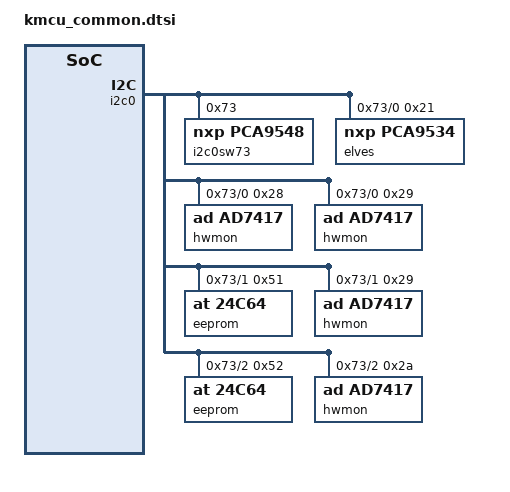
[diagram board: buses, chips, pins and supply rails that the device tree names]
// SPDX-License-Identifier: GPL-2.0+
/*
 *   Copyright (C) 2013-2019 D-TACQ Solutions Ltd - http://www.d-tacq.com/
 *
 * This program is free software; you can redistribute it and/or modify
 * it under the terms of the GNU General Public License version 2 as
 * published by the Free Software Foundation.
 */
/dts-v1/;


#include "acq400_common.dtsi"
#include "acq400_axi_dma.dtsi"

&qspi {
	is-dual = <1>;
	xlnx,qspi-mode = <0x2>;
};

&i2c0 {
	status = "okay";
	
	i2c-reset = <&gpio0 46 0>;
	i2c0sw73: i2cswitch@73 {
		compatible = "nxp,pca9548";
		#address-cells = <1>;
		#size-cells = <0>;
		reg = <0x73>;
		
		mb_i2c: i2c@0 {
			#address-cells = <1>;
			#size-cells = <0>;
			reg = <0>;
			
			/* uRTM */
			elves: gpio@21 {
				compatible="nxp,pca9534";
				reg=<0x21>;				
			};
			hwmon@28 {
				compatible="ad,ad7417";
				reg=<0x28>;
			};
			hwmon@29 {
				compatible="ad,ad7417";
				reg=<0x29>;
			};
			
		};

		elf1: i2c@1 {
			#address-cells = <1>;
			#size-cells = <0>;
			reg = <0x1>;
	
			eeprom@50 {
				compatible = "at,24c64";
				reg = <0x51>;
			};
			hwmon@28 {
				compatible="ad,ad7417";
				reg=<0x29>;
			};
		};
		elf2: i2c@2 {
			#address-cells = <1>;
			#size-cells = <0>;
			reg = <0x2>;
		
			eeprom@50 {
				compatible = "at,24c64";
				reg = <0x52>;
			};
			hwmon@28 {
				compatible="ad,ad7417";
				reg=<0x2a>;
			};
		};
		elf3: i2c@3 {
			#address-cells = <1>;
			#size-cells = <0>;
			reg = <0x3>;
		};
	};
};

/*
&cpld_interface_axi_quad_spi_0 {
    cpld_io: spidev@0 {
	compatible = "spidev";
	reg = <0x0>;
	spi-max-frequency = <25000000>;
    };
};
*/

&amba {
	sitec: acq2006sc@40000000 {
		reg = <0x40000000 0x10000>;
		compatible = "D-TACQ,acq2006sc";
		site = <0x0>;
		/* potential sc interrupt .. not assigned for now 
		interrupts = <0x0 32 0x0>;
		interrupt-parent = <0x1>;			
		*/		
	};
	site1: acq400fmc@40010000 {
		compatible = "D-TACQ,acq400fmc";
		reg = <0x40010000 0x10000>;
		interrupts = <0x0 59 0x4>; 
		interrupt-parent = <&intc>;
		site = <0x1>;
	};
	site2: acq400fmc@40020000 {
		compatible = "D-TACQ,acq400fmc";
		reg = <0x40020000 0x10000>;
		interrupts = <0x0 57 0x4>;
		interrupt-parent = <0x1>;
		site = <0x2>;
	};
	site3: acq400fmc@40030000 {
		compatible = "D-TACQ,acq400fmc";
		reg = <0x40030000 0x10000>;
		interrupts = <0x0 55 0x4>;
		interrupt-parent = <0x1>;
		site = <0x3>;
	};
		
	cpld_spi: axi_quad_spi@40061000 {
		status = "disabled";
		label = "pgmwashere";		
		
		compatible = "xlnx,xps-spi-2.00.a";
		reg = <0x40061000 0x1000>;
		
		interrupts = <0x00 34 0x01>;
		interrupt-names = "ip2intc";
		interrupt-parent = <0x1>;
		fifo-size = <0x10>;
		
		num-cs = <0x01>;
		bits-per-word = <0x08>;
		clock-names = "ext_spi_clk\0s_axi_aclk";
		clocks = <0x01 0x0f 0x01 0x0f>;
		
		xlnx,num-ss-bits = <0x01>;
		xlnx,spi-mode = <0x00>;

		spidev@0 {
			compatible = "spidev";
			reg = <0x00>;
			spi-max-frequency = <25000000>;
		};
	};
	/*
	axi_quad_spi@40061000 {
		
		bits-per-word = <0x08>;
					
		clock-names = "ext_spi_clk\0s_axi_aclk";
		clocks = <0x01 0x0f 0x01 0x0f>;
		compatible = "xlnx,axi-quad-spi-3.2\0xlnx,xps-spi-2.00.a";
		fifo-size = <0x10>;
		interrupt-names = "ip2intc_irpt";
		interrupt-parent = <0x04>;
		interrupts = <0x00 0x34 0x01>;
		num-cs = <0x01>;
					
		reg = <0x40061000 0x1000>;
		xlnx,num-ss-bits = <0x01>;
		xlnx,spi-mode = <0x00>;
	
		spidev@0 {
			compatible = "spidev";
			reg = <0x00>;
			spi-max-frequency = <25000000>;
		};
	
	};
	*/
	commsC: mgt400@400b0000 {
		compatible = "D-TACQ,mgt400";
		phys = "pcie";
		physid = <1>;
		reg = <0x400b0000 0x10000>;			
		/* interrupts = <0x0 58 0x4>; */
		interrupt-parent = <0x1>;
		site = <0xb>;
		sn = <2>;
	};	
	commsB: mgt400@400c0000 {
		compatible = "D-TACQ,mgt400";
		phys = "sfp";
		physid = <0>;
		reg = <0x400c0000 0x10000>;			
		interrupts = <0x0 58 0x4>;
		interrupt-parent = <0x1>;
		site = <0xc>;
		sn = <1>;
	};
	commsA: mgt400@400d0000 {
		compatible = "D-TACQ,mgt400";
		phys = "sfp";
		physid = <0>;
		reg = <0x400d0000 0x10000>;						
		interrupts = <0x0 56 0x4>;
		interrupt-parent = <0x1>;
		site = <0xd>;
		sn = <0>;
	};	
};

&usb0 {
	 status = "disabled";
};
 
